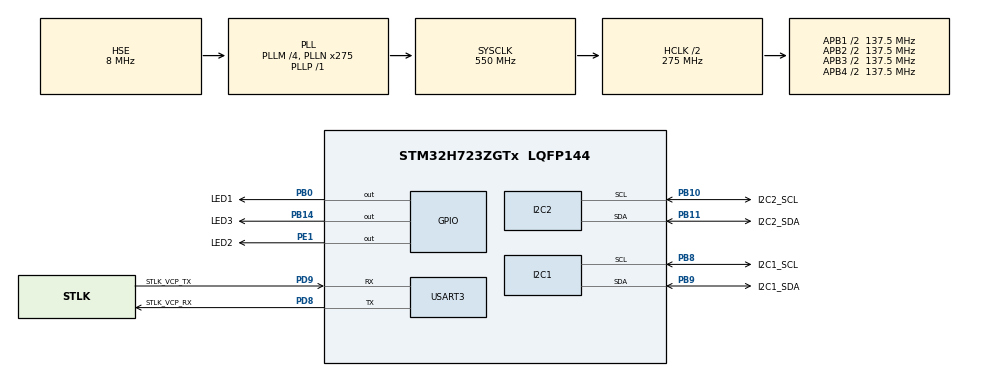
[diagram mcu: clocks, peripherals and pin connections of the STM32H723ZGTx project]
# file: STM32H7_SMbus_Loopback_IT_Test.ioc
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I2C1.SMBusPeripheralMode=SMBUS_PERIPHERAL_MODE_SMBUS_HOST
I2C1.Timeout=0x0000868E
I2C1.Timing=0x60404E72
I2C2.Timeout=0x0000868E
I2C2.Timing=0x60404E72
Mcu.Family=STM32H7
Mcu.Name=STM32H723ZGTx
Mcu.Package=LQFP144
NVIC.I2C1_ER_IRQn=true\:0\:0\:false\:false\:true\:true\:true\:true
NVIC.I2C1_EV_IRQn=true\:0\:0\:false\:false\:true\:true\:true\:true
NVIC.I2C2_ER_IRQn=true\:0\:0\:false\:false\:true\:true\:true\:true
NVIC.I2C2_EV_IRQn=true\:0\:0\:false\:false\:true\:true\:true\:true
NVIC.PriorityGroup=NVIC_PRIORITYGROUP_4
PA13(JTMS/SWDIO).GPIO_Label=SWDIO
PA13(JTMS/SWDIO).Mode=Trace_Asynchronous_SW
PA13(JTMS/SWDIO).Signal=DEBUG_JTMS-SWDIO
PA14(JTCK/SWCLK).GPIO_Label=SWCLK
PA14(JTCK/SWCLK).Mode=Trace_Asynchronous_SW
PA14(JTCK/SWCLK).Signal=DEBUG_JTCK-SWCLK
PB0.GPIO_Label=LED1
PB0.Signal=GPIO_Output
PB10.GPIO_Label=I2C2_SCL
PB10.GPIO_Pu=GPIO_PULLUP
PB10.Mode=SMBus-two-wire-Interface
PB10.Signal=I2C2_SCL
PB11.GPIO_Label=I2C2_SDA
PB11.GPIO_Pu=GPIO_PULLUP
PB11.Mode=SMBus-two-wire-Interface
PB11.Signal=I2C2_SDA
PB14.GPIO_Label=LED3
PB14.Signal=GPIO_Output
PB3(JTDO/TRACESWO).GPIO_Label=SWO
PB3(JTDO/TRACESWO).Mode=Trace_Asynchronous_SW
PB3(JTDO/TRACESWO).Signal=DEBUG_JTDO-SWO
PB8.GPIO_Label=I2C1_SCL
PB8.GPIO_Pu=GPIO_PULLUP
PB8.Mode=SMBus-two-wire-Interface
PB8.Signal=I2C1_SCL
PB9.GPIO_Label=I2C1_SDA
PB9.GPIO_Pu=GPIO_PULLUP
PB9.Mode=SMBus-two-wire-Interface
PB9.Signal=I2C1_SDA
PD8.GPIO_Label=STLK_VCP_RX
PD8.Mode=Asynchronous
PD8.Signal=USART3_TX
PD9.GPIO_Label=STLK_VCP_TX
PD9.Mode=Asynchronous
PD9.Signal=USART3_RX
PE1.GPIO_Label=LED2
PE1.Signal=GPIO_Output
PH0-OSC_IN.Mode=HSE-External-Clock-Source
PH0-OSC_IN.Signal=RCC_OSC_IN
PH1-OSC_OUT.Signal=RCC_OSC_OUT
ProjectManager.HeapSize=0x200
ProjectManager.StackSize=0x400
ProjectManager.TargetToolchain=STM32CubeIDE
RCC.ADCFreq_Value=16125000
RCC.APB1Freq_Value=137500000
RCC.APB2Freq_Value=137500000
RCC.APB3Freq_Value=137500000
RCC.APB4Freq_Value=137500000
RCC.CortexFreq_Value=550000000
RCC.D1PPRE=RCC_APB3_DIV2
RCC.D2PPRE1=RCC_APB1_DIV2
RCC.D2PPRE2=RCC_APB2_DIV2
RCC.D3PPRE=RCC_APB4_DIV2
RCC.DIVM1=4
RCC.DIVN1=275
RCC.DIVP1=1
RCC.DIVQ1=4
RCC.HCLKFreq_Value=275000000
RCC.HPRE=RCC_HCLK_DIV2
RCC.HSE_VALUE=8000000
RCC.PLLFRACN=0
RCC.PLLSourceVirtual=RCC_PLLSOURCE_HSE
RCC.SYSCLKFreq_VALUE=550000000
RCC.SYSCLKSource=RCC_SYSCLKSOURCE_PLLCLK
RCC.USBFreq_Value=137500000
USART3.VirtualMode-Asynchronous=VM_ASYNC
VP_MEMORYMAP_VS_MEMORYMAP.Mode=CurAppReg
board=custom

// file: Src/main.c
/* USER CODE BEGIN Header */
/**
  ******************************************************************************
  * @file           : main.c
  * @brief          : Main program body
  ******************************************************************************
  */
/* USER CODE END Header */
#include "common.h"

void SystemClock_Config(void);

/* USER CODE BEGIN 0 */
/**
  * @brief 重定向 printf 到 UART3
  */
int __io_putchar(int ch)
{
  HAL_UART_Transmit(&huart3, (uint8_t *)&ch, 1, HAL_MAX_DELAY);
  return ch;
}
/* USER CODE END 0 */

int main(void)
{

  /* MCU Configuration--------------------------------------------------------*/

  /* Reset of all peripherals, Initializes the Flash interface and the Systick. */
  HAL_Init();

  /* Configure the system clock */
  SystemClock_Config();

  /* Initialize all configured peripherals */
  MX_GPIO_Init();
  MX_I2C1_SMBUS_Init();
  MX_I2C2_SMBUS_Init();
  MX_USART3_UART_Init();
  /* USER CODE BEGIN 2 */
  printf("System Initialized. Starting SMBus Test...\r\n");
  /* USER CODE END 2 */

  /* Infinite loop */
  /* USER CODE BEGIN WHILE */
  while (1)
  {
    TestResult_t result;

    /* 呼叫 UserSmbus.c 中的封裝邏輯 */
    result = UserSmbus_RunLoopbackTest();

    if (result == TEST_PASS)
    {
      /* 傳輸成功，接著比對數據 */
      if (UserSmbus_CheckData() == TEST_PASS)
      {
        UserSmbus_Indicate_Pass();
      }
      else
      {
        UserSmbus_Indicate_Mismatch();
      }
    }
    else
    {
      /* 發生錯誤或超時，進行總線恢復 */
      UserSmbus_RecoverBus();
      UserSmbus_Indicate_Error();
    }

    HAL_Delay(1000); // 每次測試間隔 1 秒
    /* USER CODE END WHILE */

  }
}

void SystemClock_Config(void)
{
  RCC_OscInitTypeDef RCC_OscInitStruct = {0};
  RCC_ClkInitTypeDef RCC_ClkInitStruct = {0};

  /** Supply configuration update enable
  */
  HAL_PWREx_ConfigSupply(PWR_LDO_SUPPLY);

  /** Configure the main internal regulator output voltage
  */
  __HAL_PWR_VOLTAGESCALING_CONFIG(PWR_REGULATOR_VOLTAGE_SCALE0);

  while(!__HAL_PWR_GET_FLAG(PWR_FLAG_VOSRDY)) {}

  /** Initializes the RCC Oscillators according to the specified parameters
  * in the RCC_OscInitTypeDef structure.
  */
  RCC_OscInitStruct.OscillatorType = RCC_OSCILLATORTYPE_HSE;
  RCC_OscInitStruct.HSEState = RCC_HSE_BYPASS;
  RCC_OscInitStruct.PLL.PLLState = RCC_PLL_ON;
  RCC_OscInitStruct.PLL.PLLSource = RCC_PLLSOURCE_HSE;
  RCC_OscInitStruct.PLL.PLLM = 4;
  RCC_OscInitStruct.PLL.PLLN = 275;
  RCC_OscInitStruct.PLL.PLLP = 1;
  RCC_OscInitStruct.PLL.PLLQ = 4;
  RCC_OscInitStruct.PLL.PLLR = 2;
  RCC_OscInitStruct.PLL.PLLRGE = RCC_PLL1VCIRANGE_1;
  RCC_OscInitStruct.PLL.PLLVCOSEL = RCC_PLL1VCOWIDE;
  RCC_OscInitStruct.PLL.PLLFRACN = 0;
  if (HAL_RCC_OscConfig(&RCC_OscInitStruct) != HAL_OK)
  {
    Error_Handler();
  }

  /** Initializes the CPU, AHB and APB buses clocks
  */
  RCC_ClkInitStruct.ClockType = RCC_CLOCKTYPE_HCLK|RCC_CLOCKTYPE_SYSCLK
                              |RCC_CLOCKTYPE_PCLK1|RCC_CLOCKTYPE_PCLK2
                              |RCC_CLOCKTYPE_D3PCLK1|RCC_CLOCKTYPE_D1PCLK1;
  RCC_ClkInitStruct.SYSCLKSource = RCC_SYSCLKSOURCE_PLLCLK;
  RCC_ClkInitStruct.SYSCLKDivider = RCC_SYSCLK_DIV1;
  RCC_ClkInitStruct.AHBCLKDivider = RCC_HCLK_DIV2;
  RCC_ClkInitStruct.APB3CLKDivider = RCC_APB3_DIV2;
  RCC_ClkInitStruct.APB1CLKDivider = RCC_APB1_DIV2;
  RCC_ClkInitStruct.APB2CLKDivider = RCC_APB2_DIV2;
  RCC_ClkInitStruct.APB4CLKDivider = RCC_APB4_DIV2;

  if (HAL_RCC_ClockConfig(&RCC_ClkInitStruct, FLASH_LATENCY_3) != HAL_OK)
  {
    Error_Handler();
  }
}

/* USER CODE BEGIN 4 */
/* 提醒：HAL_SMBUS 回調函數已搬移至 UserSmbus.c，此處保持空白 */
/* USER CODE END 4 */

void Error_Handler(void)
{
  __disable_irq();
  while (1)
  {
  }
}
